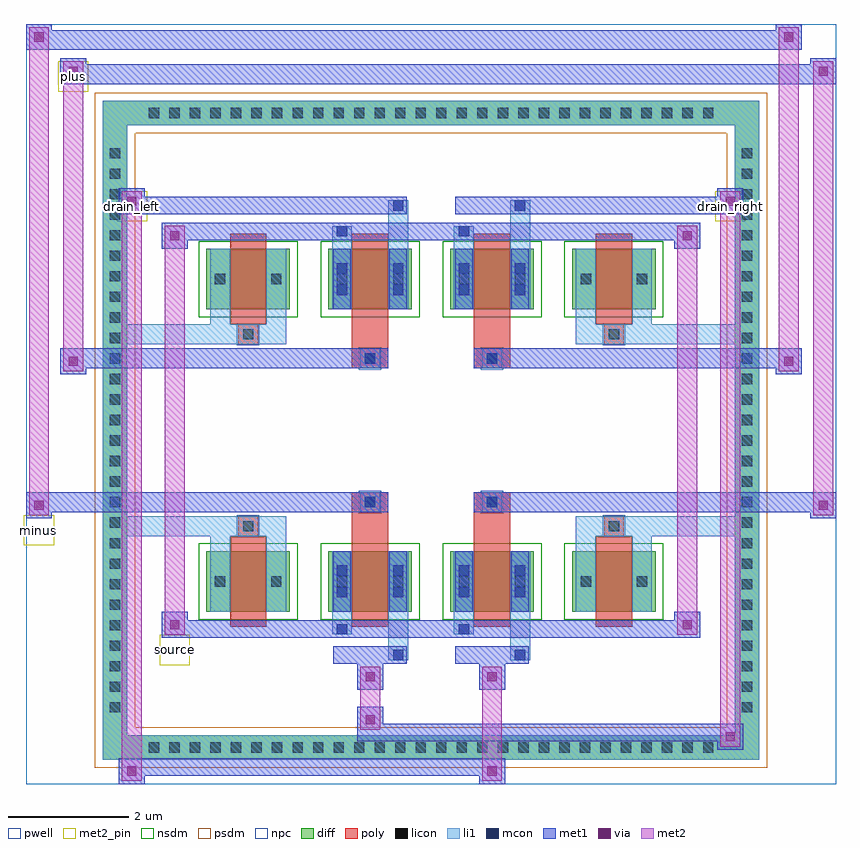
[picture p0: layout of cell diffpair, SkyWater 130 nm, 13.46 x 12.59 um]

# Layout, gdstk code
import gdstk
lib = gdstk.Library(unit=1e-6, precision=5e-09)
def R(c, l, rs):  # rectangles x0, y0, x1, y1
    for r in rs: c.add(gdstk.rectangle(r[:2], r[2:], *l))
def A(c, l, x, y, w, h, nx, ny, dx, dy):  # array of equal rectangles
    R(c, l, [(x+i*dx, y+j*dy, x+i*dx+w, y+j*dy+h) for i in range(nx) for j in range(ny)])
def P(c, l, *ps):  # polygons
    for p in ps: c.add(gdstk.Polygon(p, *l))
pwell = (64, 44)
diff = (65, 20)
poly = (66, 20)
licon = (66, 44)
li1 = (67, 20)
mcon = (67, 44)
met1 = (68, 20)
via = (68, 44)
met2_pin = (69, 16)
met2 = (69, 20)
nsdm = (93, 44)
psdm = (94, 20)
npc = (95, 20)

diffpair = lib.new_cell('diffpair')
R(diffpair, pwell, [(-6.71,-5.86,6.71,6.73), (-4.03,-4.05,-0.01,-0.825), (0.01,-4.05,4.03,-0.825), (-4.03,0.825,-0.01,4.05), (0.01,0.825,4.03,4.05)])
A(diffpair, diff, -4.795, -5.46, 0.41, 0.41, 28, 2, 0.34, 10.51)
A(diffpair, diff, -5.44, -4.795, 0.41, 0.41, 1, 28, 0, 0.34)
A(diffpair, diff, 5.03, -4.795, 0.41, 0.41, 1, 28, 0, 0.34)
A(diffpair, diff, -3.72, -3.005, 1.38, 1, 4, 2, 2.02, 5.01)
R(diffpair, diff, [(-4.795,-5.46,4.795,-5.05), (-5.44,-4.795,-5.03,4.795), (5.03,-4.795,5.44,4.795), (-4.795,5.05,4.795,5.46)])
P(diffpair, diff, [(5.44,5.46),(-5.44,5.46),(-5.44,-5.05),(-5.03,-5.05),(-5.03,5.05),(5.03,5.05),(5.03,-5.05),(-5.03,-5.05),(-5.44,-5.05),(-5.44,-5.46),(5.44,-5.46)])
A(diffpair, poly, -3.33, -3.255, 0.6, 1.5, 4, 2, 2.02, 5.01)
R(diffpair, poly, [(-3.195,-1.755,-2.865,-1.425), (-3.195,-1.755,-2.865,-1.425), (-1.31,-1.755,-0.71,-1.355), (0.71,-1.755,1.31,-1.355), (2.865,-1.755,3.195,-1.425), (2.865,-1.755,3.195,-1.425), (-1.31,-1.355,-0.71,-1.025), (-1.175,-1.355,-0.845,-1.025), (0.71,-1.355,1.31,-1.025), (0.845,-1.355,1.175,-1.025), (-1.31,1.025,-0.71,1.355), (-1.175,1.025,-0.845,1.355), (0.71,1.025,1.31,1.355), (0.845,1.025,1.175,1.355), (-1.31,1.355,-0.71,1.755), (0.71,1.355,1.31,1.755), (-3.195,1.425,-2.865,1.755), (-3.195,1.425,-2.865,1.755), (2.865,1.425,3.195,1.755), (2.865,1.425,3.195,1.755)])
A(diffpair, licon, -4.675, -5.34, 0.17, 0.17, 28, 2, 0.34, 10.51)
A(diffpair, licon, -5.32, -4.675, 0.17, 0.17, 1, 28, 0, 0.34)
A(diffpair, licon, 5.15, -4.675, 0.17, 0.17, 1, 28, 0, 0.34)
R(diffpair, licon, [(-3.58,-2.59,-3.41,-2.42), (-2.65,-2.59,-2.48,-2.42), (-1.56,-2.59,-1.39,-2.42), (-0.63,-2.59,-0.46,-2.42), (0.46,-2.59,0.63,-2.42), (1.39,-2.59,1.56,-2.42), (2.48,-2.59,2.65,-2.42), (3.41,-2.59,3.58,-2.42), (-3.115,-1.675,-2.945,-1.505), (2.945,-1.675,3.115,-1.505), (-1.095,-1.275,-0.925,-1.105), (0.925,-1.275,1.095,-1.105), (-1.095,1.105,-0.925,1.275), (0.925,1.105,1.095,1.275), (-3.115,1.505,-2.945,1.675), (2.945,1.505,3.115,1.675), (-3.58,2.42,-3.41,2.59), (-2.65,2.42,-2.48,2.59), (-1.56,2.42,-1.39,2.59), (-0.63,2.42,-0.46,2.59), (0.46,2.42,0.63,2.59), (1.39,2.42,1.56,2.59), (2.48,2.42,2.65,2.59), (3.41,2.42,3.58,2.59)])
A(diffpair, li1, -4.755, -5.42, 0.33, 0.33, 28, 2, 0.34, 10.51)
A(diffpair, li1, -5.4, -4.755, 0.33, 0.33, 1, 28, 0, 0.34)
A(diffpair, li1, 5.07, -4.755, 0.33, 0.33, 1, 28, 0, 0.34)
R(diffpair, li1, [(-5.44,-5.46,-5.03,-5.05), (-5.44,-5.46,-5.03,-5.05), (-5.03,-5.46,5.03,-5.05), (5.03,-5.46,5.44,-5.05), (5.03,-5.46,5.44,-5.05), (-5.44,-5.05,-5.03,5.05), (5.03,-5.05,5.44,5.05), (-0.71,-3.81,-0.38,-3.005), (-0.63,-3.81,-0.46,-3.64), (1.31,-3.81,1.64,-3.005), (1.39,-3.81,1.56,-3.64), (-1.64,-3.38,-1.31,-3.005), (-1.56,-3.38,-1.39,-3.21), (0.38,-3.38,0.71,-3.005), (0.46,-3.38,0.63,-3.21), (-3.66,-3.005,-3.33,-2.005), (-2.73,-3.005,-2.4,-2.005), (-1.64,-3.005,-1.31,-2.005), (-0.71,-3.005,-0.38,-2.005), (0.38,-3.005,0.71,-2.005), (1.31,-3.005,1.64,-2.005), (2.4,-3.005,2.73,-2.005), (3.33,-3.005,3.66,-2.005), (-1.56,-2.77,-1.39,-2.6), (-1.56,-2.77,-1.39,-2.24), (-0.63,-2.77,-0.46,-2.6), (-0.63,-2.77,-0.46,-2.24), (0.46,-2.77,0.63,-2.6), (0.46,-2.77,0.63,-2.24), (1.39,-2.77,1.56,-2.6), (1.39,-2.77,1.56,-2.24), (-3.66,-2.67,-3.33,-2.34), (-2.73,-2.67,-2.4,-2.34), (-1.64,-2.67,-1.31,-2.34), (-0.71,-2.67,-0.38,-2.34), (0.38,-2.67,0.71,-2.34), (1.31,-2.67,1.64,-2.34), (2.4,-2.67,2.73,-2.34), (3.33,-2.67,3.66,-2.34), (-1.56,-2.41,-1.39,-2.24), (-0.63,-2.41,-0.46,-2.24), (0.46,-2.41,0.63,-2.24), (1.39,-2.41,1.56,-2.24), (-3.66,-2.005,-3.33,-1.425), (-2.73,-2.005,-2.4,-1.425), (2.4,-2.005,2.73,-1.425), (3.33,-2.005,3.66,-1.425), (-5.44,-1.755,-3.195,-1.425), (-3.66,-1.755,-3.195,-1.425), (-3.195,-1.755,-2.865,-1.425), (-2.865,-1.755,-2.4,-1.425), (2.4,-1.755,2.865,-1.425), (2.865,-1.755,3.195,-1.425), (2.865,-1.755,5.44,-1.425), (3.195,-1.755,3.66,-1.425), (-1.175,-1.355,-0.845,-1.025), (0.845,-1.355,1.175,-1.025), (-1.175,1.025,-0.845,1.355), (0.845,1.025,1.175,1.355), (-5.44,1.425,-3.195,1.755), (-3.66,1.425,-3.195,1.755), (-3.66,1.425,-3.33,2.005), (-3.195,1.425,-2.865,1.755), (-2.865,1.425,-2.4,1.755), (-2.73,1.425,-2.4,2.005), (2.4,1.425,2.865,1.755), (2.4,1.425,2.73,2.005), (2.865,1.425,3.195,1.755), (2.865,1.425,5.44,1.755), (3.195,1.425,3.66,1.755), (3.33,1.425,3.66,2.005), (-3.66,2.005,-3.33,3.005), (-2.73,2.005,-2.4,3.005), (-1.64,2.005,-1.31,3.005), (-0.71,2.005,-0.38,3.005), (0.38,2.005,0.71,3.005), (1.31,2.005,1.64,3.005), (2.4,2.005,2.73,3.005), (3.33,2.005,3.66,3.005), (-1.56,2.24,-1.39,2.41), (-1.56,2.24,-1.39,2.77), (-0.63,2.24,-0.46,2.41), (-0.63,2.24,-0.46,2.77), (0.46,2.24,0.63,2.41), (0.46,2.24,0.63,2.77), (1.39,2.24,1.56,2.41), (1.39,2.24,1.56,2.77), (-3.66,2.34,-3.33,2.67), (-2.73,2.34,-2.4,2.67), (-1.64,2.34,-1.31,2.67), (-0.71,2.34,-0.38,2.67), (0.38,2.34,0.71,2.67), (1.31,2.34,1.64,2.67), (2.4,2.34,2.73,2.67), (3.33,2.34,3.66,2.67), (-1.56,2.6,-1.39,2.77), (-0.63,2.6,-0.46,2.77), (0.46,2.6,0.63,2.77), (1.39,2.6,1.56,2.77), (-1.64,3.005,-1.31,3.38), (-0.71,3.005,-0.38,3.81), (0.38,3.005,0.71,3.38), (1.31,3.005,1.64,3.81), (-1.56,3.21,-1.39,3.38), (0.46,3.21,0.63,3.38), (-0.63,3.64,-0.46,3.81), (1.39,3.64,1.56,3.81), (-5.44,5.05,-5.03,5.46), (-5.44,5.05,-5.03,5.46), (-5.03,5.05,5.03,5.46), (5.03,5.05,5.44,5.46), (5.03,5.05,5.44,5.46)])
R(diffpair, mcon, [(-0.63,-3.81,-0.46,-3.64), (1.39,-3.81,1.56,-3.64), (-1.56,-3.38,-1.39,-3.21), (0.46,-3.38,0.63,-3.21), (-1.56,-2.77,-1.39,-2.6), (-0.63,-2.77,-0.46,-2.6), (0.46,-2.77,0.63,-2.6), (1.39,-2.77,1.56,-2.6), (-1.56,-2.41,-1.39,-2.24), (-0.63,-2.41,-0.46,-2.24), (0.46,-2.41,0.63,-2.24), (1.39,-2.41,1.56,-2.24), (-1.095,-1.275,-0.925,-1.105), (0.925,-1.275,1.095,-1.105), (-1.095,1.105,-0.925,1.275), (0.925,1.105,1.095,1.275), (-1.56,2.24,-1.39,2.41), (-0.63,2.24,-0.46,2.41), (0.46,2.24,0.63,2.41), (1.39,2.24,1.56,2.41), (-1.56,2.6,-1.39,2.77), (-0.63,2.6,-0.46,2.77), (0.46,2.6,0.63,2.77), (1.39,2.6,1.56,2.77), (-1.56,3.21,-1.39,3.38), (0.46,3.21,0.63,3.38), (-0.63,3.64,-0.46,3.81), (1.39,3.64,1.56,3.81)])
R(diffpair, met1, [(-5.17,-5.86,-4.74,-5.43), (0.795,-5.86,1.225,-5.43), (-5.17,-5.72,1.225,-5.43), (4.74,-5.29,5.17,-4.86), (-1.225,-5.15,5.17,-4.86), (-1.225,-5.01,-0.795,-4.58), (-1.225,-4.3,-0.795,-3.87), (0.795,-4.3,1.225,-3.87), (-1.62,-3.87,-0.4,-3.58), (-0.69,-3.87,-0.4,-3.58), (0.4,-3.87,1.62,-3.58), (1.33,-3.87,1.62,-3.58), (-4.46,-3.44,-4.03,-3.01), (-4.46,-3.44,-1.62,-3.15), (-1.62,-3.44,-1.33,-3.15), (-1.62,-3.44,-0.4,-3.15), (-0.4,-3.44,0.4,-3.15), (0.4,-3.44,0.69,-3.15), (0.4,-3.44,1.62,-3.15), (1.62,-3.44,4.46,-3.15), (4.03,-3.44,4.46,-3.01), (-1.62,-3.005,-1.33,-2.005), (-0.69,-3.005,-0.4,-2.005), (0.4,-3.005,0.69,-2.005), (1.33,-3.005,1.62,-2.005), (-1.62,-2.83,-1.33,-2.54), (-0.69,-2.83,-0.4,-2.54), (0.4,-2.83,0.69,-2.54), (1.33,-2.83,1.62,-2.54), (-1.62,-2.47,-1.33,-2.18), (-0.69,-2.47,-0.4,-2.18), (0.4,-2.47,0.69,-2.18), (1.33,-2.47,1.62,-2.18), (-6.71,-1.455,-6.28,-1.025), (6.28,-1.455,6.71,-1.025), (-6.71,-1.355,-0.71,-1.025), (-1.31,-1.355,-0.71,-1.025), (0.71,-1.355,1.31,-1.025), (0.71,-1.355,6.71,-1.025), (-1.155,-1.335,-0.865,-1.045), (0.865,-1.335,1.155,-1.045), (-6.14,0.925,-5.71,1.355), (5.71,0.925,6.14,1.355), (-6.14,1.025,-1.31,1.355), (-1.31,1.025,-0.71,1.355), (0.71,1.025,1.31,1.355), (1.31,1.025,6.14,1.355), (-1.155,1.045,-0.865,1.335), (0.865,1.045,1.155,1.335), (-1.62,2.005,-1.33,3.005), (-0.69,2.005,-0.4,3.005), (0.4,2.005,0.69,3.005), (1.33,2.005,1.62,3.005), (-1.62,2.18,-1.33,2.47), (-0.69,2.18,-0.4,2.47), (0.4,2.18,0.69,2.47), (1.33,2.18,1.62,2.47), (-1.62,2.54,-1.33,2.83), (-0.69,2.54,-0.4,2.83), (0.4,2.54,0.69,2.83), (1.33,2.54,1.62,2.83), (-4.46,3.01,-4.03,3.44), (4.03,3.01,4.46,3.44), (-4.46,3.15,-1.62,3.44), (-1.62,3.15,-1.33,3.44), (-1.62,3.15,-0.4,3.44), (-0.4,3.15,0.4,3.44), (0.4,3.15,0.69,3.44), (0.4,3.15,1.62,3.44), (1.62,3.15,4.46,3.44), (-5.17,3.58,-4.74,4.01), (-5.17,3.58,-1.62,3.87), (-1.62,3.58,-0.4,3.87), (-0.69,3.58,-0.4,3.87), (0.4,3.58,1.62,3.87), (1.33,3.58,1.62,3.87), (1.62,3.58,5.17,3.87), (4.74,3.58,5.17,4.01), (-6.14,5.73,-5.71,6.16), (-6.14,5.73,-4.03,6.06), (-4.03,5.73,4.03,6.06), (4.03,5.73,6.71,6.06), (6.28,5.73,6.71,6.16), (-6.71,6.3,-6.28,6.73), (-6.71,6.3,-4.03,6.63), (-4.03,6.3,4.03,6.63), (4.03,6.3,6.14,6.63), (5.71,6.3,6.14,6.73)])
R(diffpair, via, [(-5.03,-5.72,-4.88,-5.57), (0.935,-5.72,1.085,-5.57), (4.88,-5.15,5.03,-5), (-1.085,-4.87,-0.935,-4.72), (-1.085,-4.16,-0.935,-4.01), (0.935,-4.16,1.085,-4.01), (-4.32,-3.3,-4.17,-3.15), (4.17,-3.3,4.32,-3.15), (-6.57,-1.315,-6.42,-1.165), (6.42,-1.315,6.57,-1.165), (-6,1.065,-5.85,1.215), (5.85,1.065,6,1.215), (-4.32,3.15,-4.17,3.3), (4.17,3.15,4.32,3.3), (-5.03,3.72,-4.88,3.87), (4.88,3.72,5.03,3.87), (-6,5.87,-5.85,6.02), (6.42,5.87,6.57,6.02), (-6.57,6.44,-6.42,6.59), (5.85,6.44,6,6.59)])
R(diffpair, met2_pin, [(-4.495,-3.89,-3.995,-3.39), (-6.745,-1.905,-6.245,-1.405), (-5.205,3.46,-4.705,3.96), (4.705,3.46,5.205,3.96), (-6.175,5.61,-5.675,6.11)])
R(diffpair, met2, [(-5.12,-5.81,-4.79,-5.48), (-5.12,-5.81,-4.79,3.96), (0.845,-5.81,1.175,-5.48), (0.845,-5.48,1.175,-4.25), (4.79,-5.24,5.12,-4.91), (4.79,-5.24,5.12,3.96), (-1.175,-4.96,-0.845,-4.63), (-1.175,-4.63,-0.845,-4.25), (-1.175,-4.25,-0.845,-3.92), (0.845,-4.25,1.175,-3.92), (-4.41,-3.39,-4.08,-3.06), (-4.41,-3.39,-4.08,3.39), (4.08,-3.39,4.41,-3.06), (4.08,-3.39,4.41,3.39), (-6.66,-1.405,-6.33,-1.075), (-6.66,-1.405,-6.33,6.68), (6.33,-1.405,6.66,-1.075), (6.33,-1.405,6.66,6.11), (-6.09,0.975,-5.76,1.305), (-6.09,0.975,-5.76,6.11), (5.76,0.975,6.09,1.305), (5.76,0.975,6.09,6.68), (-4.41,3.06,-4.08,3.39), (4.08,3.06,4.41,3.39), (-5.12,3.63,-4.79,3.96), (4.79,3.63,5.12,3.96), (-6.09,5.78,-5.76,6.11), (6.33,5.78,6.66,6.11), (-6.66,6.35,-6.33,6.68), (5.76,6.35,6.09,6.68)])
P(diffpair, met2, [(6.66,-1.405),(6.66,-1.405),(6.66,-1.075),(6.66,-1.075)],
  [(6.66,5.78),(6.66,5.78),(6.66,6.11),(6.66,6.11)],
  [(-6.33,-1.405),(-6.33,-1.405),(-6.33,-1.075),(-6.33,-1.075)],
  [(-6.33,6.35),(-6.33,6.35),(-6.33,6.68),(-6.33,6.68)],
  [(6.09,0.975),(6.09,0.975),(6.09,1.305),(6.09,1.305)],
  [(6.09,6.35),(6.09,6.35),(6.09,6.68),(6.09,6.68)],
  [(-5.76,0.975),(-5.76,0.975),(-5.76,1.305),(-5.76,1.305)],
  [(-5.76,5.78),(-5.76,5.78),(-5.76,6.11),(-5.76,6.11)],
  [(-4.79,-5.81),(-4.79,-5.81),(-4.79,-5.48),(-4.79,-5.48)],
  [(-4.79,3.63),(-4.79,3.63),(-4.79,3.96),(-4.79,3.96)],
  [(5.12,-5.24),(5.12,-5.24),(5.12,-4.91),(5.12,-4.91)],
  [(5.12,3.63),(5.12,3.63),(5.12,3.96),(5.12,3.96)],
  [(-4.08,-3.39),(-4.08,-3.39),(-4.08,-3.06),(-4.08,-3.06)],
  [(-4.08,3.06),(-4.08,3.06),(-4.08,3.39),(-4.08,3.39)],
  [(4.41,-3.39),(4.41,-3.39),(4.41,-3.06),(4.41,-3.06)],
  [(4.41,3.06),(4.41,3.06),(4.41,3.39),(4.41,3.39)])
A(diffpair, nsdm, -3.85, -3.135, 1.64, 1.26, 4, 2, 2.02, 5.01)
P(diffpair, psdm, [(5.57,5.59),(-5.57,5.59),(-5.57,-4.92),(-4.9,-4.92),(-4.9,4.92),(4.9,4.92),(4.9,-4.92),(-4.9,-4.92),(-5.57,-4.92),(-5.57,-5.59),(5.57,-5.59)])
R(diffpair, npc, [(-3.215,-1.775,-2.845,-1.405), (2.845,-1.775,3.215,-1.405), (-1.195,-1.375,-0.825,-1.005), (0.825,-1.375,1.195,-1.005), (-1.195,1.005,-0.825,1.375), (0.825,1.005,1.195,1.375), (-3.215,1.405,-2.845,1.775), (2.845,1.405,3.215,1.775)])
diffpair.add(gdstk.Label('minus', (-6.495,-1.655), layer=69, texttype=5))
diffpair.add(gdstk.Label('drain_right', (4.955,3.71), layer=69, texttype=5))
diffpair.add(gdstk.Label('drain_left', (-4.955,3.71), layer=69, texttype=5))
diffpair.add(gdstk.Label('source', (-4.245,-3.64), layer=69, texttype=5))
diffpair.add(gdstk.Label('plus', (-5.925,5.86), layer=69, texttype=5))

lib.write_gds('diffpair.gds')
